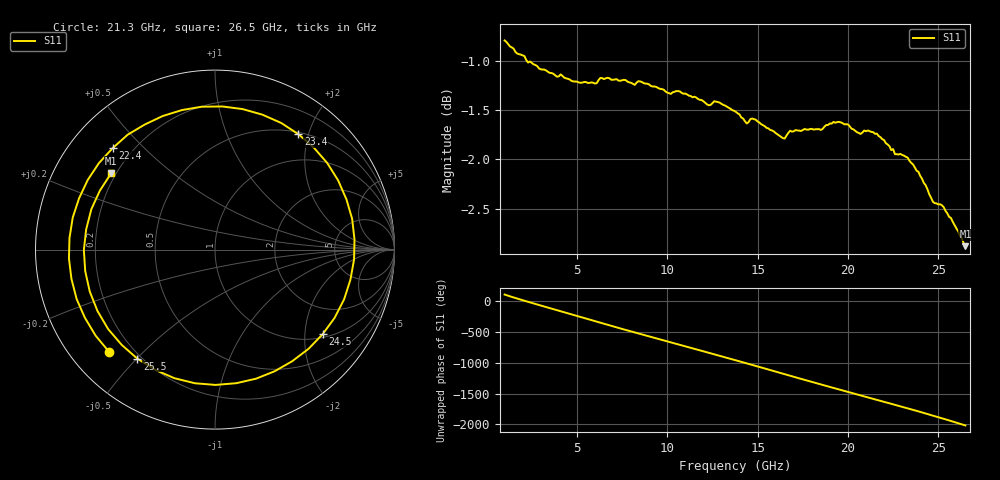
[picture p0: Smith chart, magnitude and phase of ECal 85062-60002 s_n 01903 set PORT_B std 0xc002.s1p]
!Created with skrf (http://scikit-rf.org).
# Hz S RI R 50.0
!freq ReS11 ImS11
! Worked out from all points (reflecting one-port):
!   256 points, 1 GHz to 26.5 GHz, reference 50 ohm
!   lowest |S11| = -2.9 dB at 26.5 GHz (marker M1), VSWR 6.09, Z = 9.06 + j15.9 ohm
!   phase of S11 starts at 112 deg and turns -2128 deg over the sweep
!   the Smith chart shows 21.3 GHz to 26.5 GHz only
!   S11 on the Smith chart (normalised r, x): 21.3 GHz: 0.11, -0.40; 22.4 GHz: 0.13, +0.41; 23.4 GHz: 0.53, +1.84; 24.5 GHz: 1.09, -2.46; 25.5 GHz: 0.18, -0.50; 26.5 GHz: 0.18, +0.32
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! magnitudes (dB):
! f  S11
! 1 GHz  -0.8
! 2.3 GHz  -1.0
! 4.2 GHz  -1.2
! 5.2 GHz  -1.2
! 6.1 GHz  -1.2
! 6.3 GHz  -1.2
! 7.4 GHz  -1.2
! 8.2 GHz  -1.2
! 8.5 GHz  -1.2
! 10.2 GHz  -1.3
! 10.6 GHz  -1.3
! 13.8 GHz  -1.5
! 14.4 GHz  -1.6
! 14.9 GHz  -1.6
! 16.4 GHz  -1.8
! 17 GHz  -1.7
! 18.5 GHz  -1.7
! 19.2 GHz  -1.6
! 20.2 GHz  -1.7
! 20.7 GHz  -1.7
! 21.3 GHz  -1.7
! 22.4 GHz  -1.9
! 23.4 GHz  -2.0
! 23.9 GHz  -2.1
! 24.5 GHz  -2.4
! 24.7 GHz  -2.4
! 25.5 GHz  -2.5
! 26.5 GHz  -2.9
